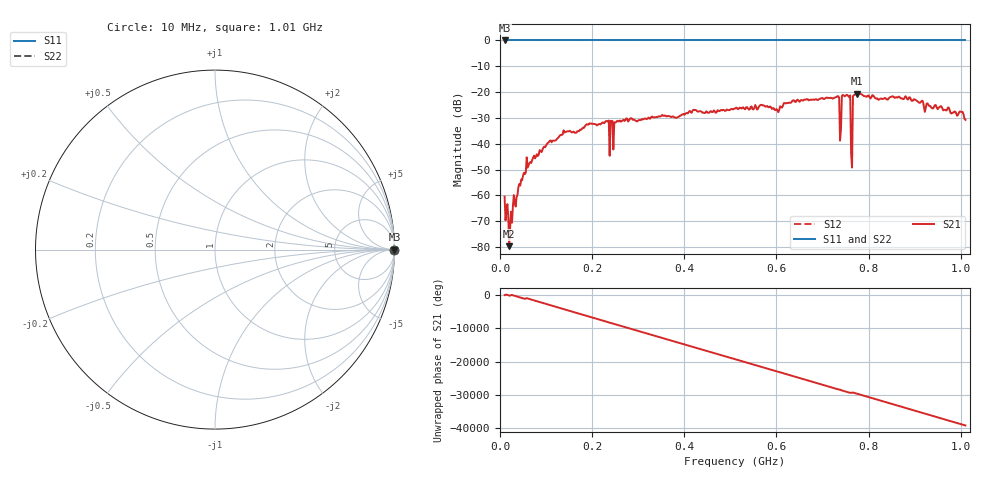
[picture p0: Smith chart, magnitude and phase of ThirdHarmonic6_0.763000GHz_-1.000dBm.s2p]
! 8/16/2025 1:30:27 AM
! C:\ANRITSUVNA\TEMP\TEMP.S2P
! CHANNEL.1
! TR.MEASUREMENT
! RAW.DATA
! RF.CORRECTION.OFF
! AVERAGING.OFF
! IF.BANDWIDTH: 5KHZ
! SWEEPTYPE:  FREQ.SWEEP(Linear)
! Reference Plane Port Info
! PORT:  PORT1  PORT2
! DISTANCE:  0  m  0  m
! TIME:  0  s  0  s
! PHASE.OFFSET:  0  deg.  0  deg.
! LOSS:  0  dB  0  dB
! REF.LOSS:  0  dB  0  dB
! REF.FREQ:  0  Hz  0  Hz
! Power Info
! POWER:  -20  dBm  -20  dBm
! EFF.POWER:  -20  dBm  -20  dBm
! SOURCE.ATTEN:  0  dB  0  dB
! TEST.ATTEN:  0  dB  0  dB
# GHZ S RI R 50.0
! FREQ.GHZ  S11RE  S11IM  S21RE  S21IM  S12RE  S12IM  S22RE  S22IM
!; PortSelection: Port_12
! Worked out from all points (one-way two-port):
!   501 points, 10 MHz to 1.01 GHz, reference 50 ohm
!   highest |S21| = -20.63 dB at 774 MHz (marker M1); lowest = -79.7 dB at 20 MHz (marker M2)
!   lowest |S11| = 0.0 dB at 10 MHz (marker M3)
!   |S11| at or under -10 dB: nowhere
!   |S22| runs from 0.0 to 0.0 dB; largest |S21 - S12| = 1.1
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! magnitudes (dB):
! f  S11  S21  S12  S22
! 10 MHz  0.0  -60.4  0.0  0.0
! 20 MHz  0.0  -79.7  0.0  0.0
! 62 MHz  0.0  -48.3  0.0  0.0
! 106 MHz  0.0  -39.4  0.0  0.0
! 178 MHz  0.0  -34.2  0.0  0.0
! 232 MHz  0.0  -31.3  0.0  0.0
! 242 MHz  0.0  -31.1  0.0  0.0
! 252 MHz  0.0  -31.7  0.0  0.0
! 344 MHz  0.0  -29.4  0.0  0.0
! 510 MHz  0.0  -26.4  0.0  0.0
! 678 MHz  0.0  -22.9  0.0  0.0
! 732 MHz  0.0  -21.6  0.0  0.0
! 738 MHz  0.0  -38.8  0.0  0.0
! 746 MHz  0.0  -21.3  0.0  0.0
! 756 MHz  0.0  -21.6  0.0  0.0
! 760 MHz  0.0  -21.3  0.0  0.0
! 762 MHz  0.0  -43.9  0.0  0.0
! 766 MHz  0.0  -21.6  0.0  0.0
! 770 MHz  0.0  -21.0  0.0  0.0
! 774 MHz  0.0  -20.6  0.0  0.0
! 844 MHz  0.0  -22.3  0.0  0.0
! 1.01 GHz  0.0  -30.8  0.0  0.0
